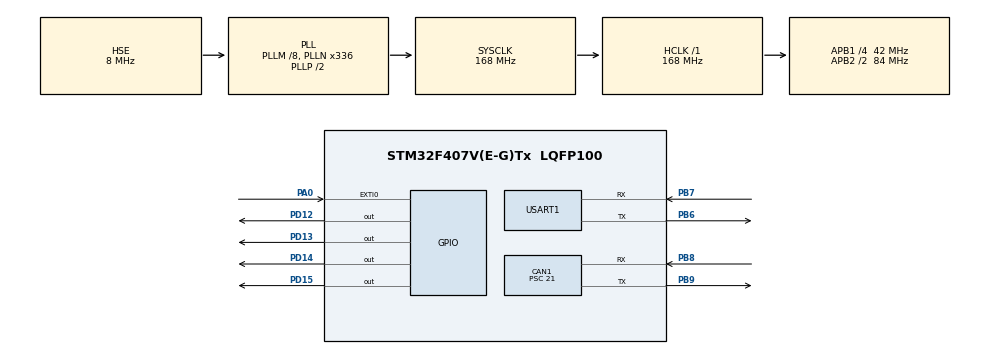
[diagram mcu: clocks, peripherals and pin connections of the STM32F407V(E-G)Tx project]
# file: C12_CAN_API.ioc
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CAN1.BS1=CAN_BS1_12TQ
CAN1.BS2=CAN_BS2_2TQ
CAN1.CalculateTimeQuantum=500.0
CAN1.Prescaler=21
Mcu.Family=STM32F4
Mcu.Name=STM32F407V(E-G)Tx
Mcu.Package=LQFP100
NVIC.CAN1_RX0_IRQn=true\:0\:2\:false\:false\:true\:true\:true
NVIC.EXTI0_IRQn=true\:0\:1\:false\:false\:true\:true\:true
NVIC.PriorityGroup=NVIC_PRIORITYGROUP_0
PA0-WKUP.Signal=GPXTI0
PB6.Mode=Asynchronous
PB6.Signal=USART1_TX
PB7.Mode=Asynchronous
PB7.Signal=USART1_RX
PB8.Mode=Master
PB8.Signal=CAN1_RX
PB9.Mode=Master
PB9.Signal=CAN1_TX
PD12.Signal=GPIO_Output
PD13.Signal=GPIO_Output
PD14.Signal=GPIO_Output
PD15.Signal=GPIO_Output
PH0-OSC_IN.Mode=HSE-External-Oscillator
PH0-OSC_IN.Signal=RCC_OSC_IN
PH1-OSC_OUT.Mode=HSE-External-Oscillator
PH1-OSC_OUT.Signal=RCC_OSC_OUT
ProjectManager.HeapSize=0x200
ProjectManager.StackSize=0x400
ProjectManager.TargetToolchain=EWARM V8.32
RCC.48MHZClocksFreq_Value=48000000
RCC.AHBFreq_Value=168000000
RCC.APB1CLKDivider=RCC_HCLK_DIV4
RCC.APB1Freq_Value=42000000
RCC.APB1TimFreq_Value=84000000
RCC.APB2CLKDivider=RCC_HCLK_DIV2
RCC.APB2Freq_Value=84000000
RCC.APB2TimFreq_Value=168000000
RCC.CortexFreq_Value=168000000
RCC.HCLKFreq_Value=168000000
RCC.HSE_VALUE=8000000
RCC.HSI_VALUE=16000000
RCC.LSE_VALUE=32768
RCC.PLLM=8
RCC.PLLN=336
RCC.PLLQ=7
RCC.PLLSourceVirtual=RCC_PLLSOURCE_HSE
RCC.SYSCLKFreq_VALUE=168000000
RCC.SYSCLKSource=RCC_SYSCLKSOURCE_PLLCLK
RCC.VCOOutputFreq_Value=336000000
USART1.VirtualMode=VM_ASYNC
board=STM32F407G-DISC1

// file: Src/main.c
/* USER CODE BEGIN Header */
/**
  ******************************************************************************
  * @file           : main.c
  * @brief          : Main program body
  ******************************************************************************
  * @attention
  *
  * <h2><center>&copy; Copyright (c) 2020 STMicroelectronics.
  * All rights reserved.</center></h2>
  *
  * This software component is licensed by ST under BSD 3-Clause license,
  * the "License"; You may not use this file except in compliance with the
  * License. You may obtain a copy of the License at:
  *                        opensource.org/licenses/BSD-3-Clause
  *
  ******************************************************************************
  */
/* USER CODE END Header */

#include "main.h"

/* USER CODE BEGIN Includes */
#include "stdio.h"
/* USER CODE END Includes */

CAN_HandleTypeDef hcan1;

UART_HandleTypeDef huart1;

/* USER CODE BEGIN PV */
uint8_t t,r;
CAN_TxHeaderTypeDef pHeader;
CAN_RxHeaderTypeDef RxHeader;
uint32_t pTxMailbox;
CAN_FilterTypeDef sFilterConfig;
/* USER CODE END PV */

void SystemClock_Config(void);
static void MX_GPIO_Init(void);
static void MX_CAN1_Init(void);
static void MX_USART1_UART_Init(void);

int main(void)
{

  /* MCU Configuration--------------------------------------------------------*/

  /* Reset of all peripherals, Initializes the Flash interface and the Systick. */
  HAL_Init();

  /* Configure the system clock */
  SystemClock_Config();

  /* Initialize all configured peripherals */
  MX_GPIO_Init();
  MX_CAN1_Init();
  MX_USART1_UART_Init();
  /* USER CODE BEGIN 2 */

  pHeader.DLC=1;
  pHeader.IDE=CAN_ID_STD;
  pHeader.RTR=CAN_RTR_DATA;
  pHeader.StdId=0x02;//Own Identifier

  sFilterConfig.FilterBank=0;
  sFilterConfig.FilterFIFOAssignment=CAN_FILTER_FIFO0;
  sFilterConfig.FilterIdHigh= 0x01<<5;//Accepted correspondent Identifier
  sFilterConfig.FilterIdLow= 0;
  sFilterConfig.FilterMaskIdHigh=0;
  sFilterConfig.FilterMaskIdLow=0;
  sFilterConfig.FilterMode=CAN_FILTERMODE_IDLIST;
  sFilterConfig.FilterScale=CAN_FILTERSCALE_32BIT;
  sFilterConfig.SlaveStartFilterBank=14;
  sFilterConfig.FilterActivation=CAN_FILTER_ENABLE;
  HAL_CAN_ConfigFilter(&hcan1, &sFilterConfig);

  HAL_CAN_Start(&hcan1);
  HAL_CAN_ActivateNotification(&hcan1,CAN_IT_RX_FIFO0_MSG_PENDING);
  /* USER CODE END 2 */

  /* Infinite loop */
  /* USER CODE BEGIN WHILE */
  while (1)
  {
    t++;
    HAL_CAN_AddTxMessage(&hcan1, &pHeader,&t, &pTxMailbox);
    HAL_Delay(500);
    /* USER CODE END WHILE */

  }
}

void SystemClock_Config(void)
{
  RCC_OscInitTypeDef RCC_OscInitStruct = {0};
  RCC_ClkInitTypeDef RCC_ClkInitStruct = {0};

  /** Configure the main internal regulator output voltage
  */
  __HAL_RCC_PWR_CLK_ENABLE();
  __HAL_PWR_VOLTAGESCALING_CONFIG(PWR_REGULATOR_VOLTAGE_SCALE1);
  /** Initializes the CPU, AHB and APB busses clocks
  */
  RCC_OscInitStruct.OscillatorType = RCC_OSCILLATORTYPE_HSE;
  RCC_OscInitStruct.HSEState = RCC_HSE_ON;
  RCC_OscInitStruct.PLL.PLLState = RCC_PLL_ON;
  RCC_OscInitStruct.PLL.PLLSource = RCC_PLLSOURCE_HSE;
  RCC_OscInitStruct.PLL.PLLM = 8;
  RCC_OscInitStruct.PLL.PLLN = 336;
  RCC_OscInitStruct.PLL.PLLP = RCC_PLLP_DIV2;
  RCC_OscInitStruct.PLL.PLLQ = 7;
  if (HAL_RCC_OscConfig(&RCC_OscInitStruct) != HAL_OK)
  {
    Error_Handler();
  }
  /** Initializes the CPU, AHB and APB busses clocks
  */
  RCC_ClkInitStruct.ClockType = RCC_CLOCKTYPE_HCLK|RCC_CLOCKTYPE_SYSCLK
                              |RCC_CLOCKTYPE_PCLK1|RCC_CLOCKTYPE_PCLK2;
  RCC_ClkInitStruct.SYSCLKSource = RCC_SYSCLKSOURCE_PLLCLK;
  RCC_ClkInitStruct.AHBCLKDivider = RCC_SYSCLK_DIV1;
  RCC_ClkInitStruct.APB1CLKDivider = RCC_HCLK_DIV4;
  RCC_ClkInitStruct.APB2CLKDivider = RCC_HCLK_DIV2;

  if (HAL_RCC_ClockConfig(&RCC_ClkInitStruct, FLASH_LATENCY_5) != HAL_OK)
  {
    Error_Handler();
  }
}

static void MX_CAN1_Init(void)
{

  hcan1.Instance = CAN1;
  hcan1.Init.Prescaler = 21;
  hcan1.Init.Mode = CAN_MODE_NORMAL;
  hcan1.Init.SyncJumpWidth = CAN_SJW_1TQ;
  hcan1.Init.TimeSeg1 = CAN_BS1_12TQ;
  hcan1.Init.TimeSeg2 = CAN_BS2_2TQ;
  hcan1.Init.TimeTriggeredMode = DISABLE;
  hcan1.Init.AutoBusOff = DISABLE;
  hcan1.Init.AutoWakeUp = DISABLE;
  hcan1.Init.AutoRetransmission = DISABLE;
  hcan1.Init.ReceiveFifoLocked = DISABLE;
  hcan1.Init.TransmitFifoPriority = DISABLE;
  if (HAL_CAN_Init(&hcan1) != HAL_OK)
  {
    Error_Handler();
  }

}

static void MX_USART1_UART_Init(void)
{

  huart1.Instance = USART1;
  huart1.Init.BaudRate = 115200;
  huart1.Init.WordLength = UART_WORDLENGTH_8B;
  huart1.Init.StopBits = UART_STOPBITS_1;
  huart1.Init.Parity = UART_PARITY_NONE;
  huart1.Init.Mode = UART_MODE_TX_RX;
  huart1.Init.HwFlowCtl = UART_HWCONTROL_NONE;
  huart1.Init.OverSampling = UART_OVERSAMPLING_16;
  if (HAL_UART_Init(&huart1) != HAL_OK)
  {
    Error_Handler();
  }

}

static void MX_GPIO_Init(void)
{
  GPIO_InitTypeDef GPIO_InitStruct = {0};

  /* GPIO Ports Clock Enable */
  __HAL_RCC_GPIOH_CLK_ENABLE();
  __HAL_RCC_GPIOA_CLK_ENABLE();
  __HAL_RCC_GPIOD_CLK_ENABLE();
  __HAL_RCC_GPIOB_CLK_ENABLE();

  /*Configure GPIO pin Output Level */
  HAL_GPIO_WritePin(GPIOD, GPIO_PIN_12|GPIO_PIN_13|GPIO_PIN_14|GPIO_PIN_15, GPIO_PIN_RESET);

  /*Configure GPIO pin : PA0 */
  GPIO_InitStruct.Pin = GPIO_PIN_0;
  GPIO_InitStruct.Mode = GPIO_MODE_IT_RISING;
  GPIO_InitStruct.Pull = GPIO_NOPULL;
  HAL_GPIO_Init(GPIOA, &GPIO_InitStruct);

  /*Configure GPIO pins : PD12 PD13 PD14 PD15 */
  GPIO_InitStruct.Pin = GPIO_PIN_12|GPIO_PIN_13|GPIO_PIN_14|GPIO_PIN_15;
  GPIO_InitStruct.Mode = GPIO_MODE_OUTPUT_PP;
  GPIO_InitStruct.Pull = GPIO_NOPULL;
  GPIO_InitStruct.Speed = GPIO_SPEED_FREQ_LOW;
  HAL_GPIO_Init(GPIOD, &GPIO_InitStruct);

  /* EXTI interrupt init*/
  HAL_NVIC_SetPriority(EXTI0_IRQn, 0, 1);
  HAL_NVIC_EnableIRQ(EXTI0_IRQn);

}

void Error_Handler(void)
{
}

/************************ (C) COPYRIGHT STMicroelectronics *****END OF FILE****/
